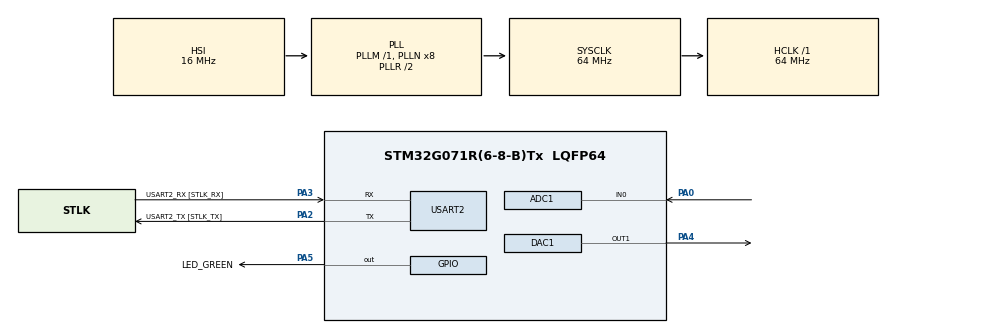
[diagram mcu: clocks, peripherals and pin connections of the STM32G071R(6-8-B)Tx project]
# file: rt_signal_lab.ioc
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ADC1.Channel-1\#ChannelRegularConversion=ADC_CHANNEL_0
ADC1.DMAContinuousRequests=ENABLE
ADC1.ExternalTrigConv=ADC_EXTERNALTRIG_T6_TRGO
ADC1.NbrOfConversionFlag=1
ADC1.Rank-1\#ChannelRegularConversion=1
ADC1.SamplingTime-1\#ChannelRegularConversion=ADC_SAMPLINGTIME_COMMON_1
ADC1.SamplingTimeCommon1=ADC_SAMPLETIME_39CYCLES_5
ADC1.SelectedChannel=ADC_CHANNEL_0
ADC1.TriggerFrequencyMode=ADC_TRIGGER_FREQ_HIGH
ADC1.master=1
DAC1.DAC_Channel-DAC_OUT1=DAC_CHANNEL_1
DAC1.DAC_Trigger-DAC_OUT1=DAC_TRIGGER_T6_TRGO
Dma.ADC1.0.Direction=DMA_PERIPH_TO_MEMORY
Dma.ADC1.0.EventEnable=DISABLE
Dma.ADC1.0.Instance=DMA1_Channel1
Dma.ADC1.0.MemDataAlignment=DMA_MDATAALIGN_HALFWORD
Dma.ADC1.0.MemInc=DMA_MINC_ENABLE
Dma.ADC1.0.Mode=DMA_CIRCULAR
Dma.ADC1.0.PeriphDataAlignment=DMA_PDATAALIGN_HALFWORD
Dma.ADC1.0.PeriphInc=DMA_PINC_DISABLE
Dma.ADC1.0.Polarity=HAL_DMAMUX_REQ_GEN_RISING
Dma.ADC1.0.Priority=DMA_PRIORITY_LOW
Dma.ADC1.0.RequestNumber=1
Dma.ADC1.0.SignalID=NONE
Dma.ADC1.0.SyncEnable=DISABLE
Dma.ADC1.0.SyncPolarity=HAL_DMAMUX_SYNC_NO_EVENT
Dma.ADC1.0.SyncRequestNumber=1
Dma.ADC1.0.SyncSignalID=NONE
Dma.DAC1_CH1.1.Direction=DMA_MEMORY_TO_PERIPH
Dma.DAC1_CH1.1.EventEnable=DISABLE
Dma.DAC1_CH1.1.Instance=DMA1_Channel2
Dma.DAC1_CH1.1.MemDataAlignment=DMA_MDATAALIGN_HALFWORD
Dma.DAC1_CH1.1.MemInc=DMA_MINC_ENABLE
Dma.DAC1_CH1.1.Mode=DMA_CIRCULAR
Dma.DAC1_CH1.1.PeriphDataAlignment=DMA_PDATAALIGN_HALFWORD
Dma.DAC1_CH1.1.PeriphInc=DMA_PINC_DISABLE
Dma.DAC1_CH1.1.Polarity=HAL_DMAMUX_REQ_GEN_RISING
Dma.DAC1_CH1.1.Priority=DMA_PRIORITY_HIGH
Dma.DAC1_CH1.1.RequestNumber=1
Dma.DAC1_CH1.1.SignalID=NONE
Dma.DAC1_CH1.1.SyncEnable=DISABLE
Dma.DAC1_CH1.1.SyncPolarity=HAL_DMAMUX_SYNC_NO_EVENT
Dma.DAC1_CH1.1.SyncRequestNumber=1
Dma.DAC1_CH1.1.SyncSignalID=NONE
Dma.Request0=ADC1
Dma.Request1=DAC1_CH1
Mcu.Family=STM32G0
Mcu.Name=STM32G071R(6-8-B)Tx
Mcu.Package=LQFP64
NVIC.DMA1_Channel1_IRQn=true\:0\:0\:false\:false\:true\:false\:true\:true
NVIC.DMA1_Channel2_3_IRQn=true\:0\:0\:false\:false\:true\:false\:true\:true
PA0.Mode=IN0
PA0.Signal=ADC1_IN0
PA13.GPIO_Label=TMS
PA13.Mode=Serial_Wire
PA13.Signal=SYS_SWDIO
PA14-BOOT0.GPIO_Label=TCK
PA14-BOOT0.Mode=Serial_Wire
PA14-BOOT0.Signal=SYS_SWCLK
PA2.GPIO_Label=USART2_TX [STLK_TX]
PA2.Mode=Asynchronous
PA2.Signal=USART2_TX
PA3.GPIO_Label=USART2_RX [STLK_RX]
PA3.Mode=Asynchronous
PA3.Signal=USART2_RX
PA4.Signal=COMP_DAC11_group
PA5.GPIO_Label=LED_GREEN
PA5.GPIO_Speed=GPIO_SPEED_FREQ_HIGH
PA5.Signal=GPIO_Output
PC13.Signal=SYS_WKUP2
PC14-OSC32_IN\ (PC14).Signal=RCC_OSC32_IN
PC15-OSC32_OUT\ (PC15).Signal=RCC_OSC32_OUT
PF0-OSC_IN\ (PF0).GPIO_Label=MCO
PF0-OSC_IN\ (PF0).Signal=RCC_OSC_IN
ProjectManager.HeapSize=0x200
ProjectManager.StackSize=0x400
ProjectManager.TargetToolchain=STM32CubeIDE
RCC.ADCFreq_Value=64000000
RCC.AHBFreq_Value=64000000
RCC.CortexFreq_Value=64000000
RCC.EXTERNAL_CLOCK_VALUE=12288000
RCC.HCLKFreq_Value=64000000
RCC.HSE_VALUE=8000000
RCC.HSI_VALUE=16000000
RCC.LSE_VALUE=32768
RCC.SYSCLKFreq_VALUE=64000000
RCC.SYSCLKSource=RCC_SYSCLKSOURCE_PLLCLK
RCC.VCOOutputFreq_Value=128000000
SH.COMP_DAC11_group.0=DAC1_OUT1,DAC_OUT1
TIM6.Period=3199
TIM6.Prescaler=0
TIM6.TIM_MasterOutputTrigger=TIM_TRGO_UPDATE
USART2.VirtualMode-Asynchronous=VM_ASYNC
VP_TIM6_VS_ClockSourceINT.Mode=Enable_Timer
board=NUCLEO-G071RB

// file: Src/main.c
/* USER CODE BEGIN Header */
/**
  ******************************************************************************
  * @file           : main.c
  * @brief          : Main program body
  ******************************************************************************
  * @attention
  *
  * Copyright (c) 2026 STMicroelectronics.
  * All rights reserved.
  *
  * This software is licensed under terms that can be found in the LICENSE file
  * in the root directory of this software component.
  * If no LICENSE file comes with this software, it is provided AS-IS.
  *
  ******************************************************************************
  */
/* USER CODE END Header */
#include "main.h"
#include "adc.h"
#include "dac.h"
#include "dma.h"
#include "tim.h"
#include "usart.h"
#include "gpio.h"

/* USER CODE BEGIN Includes */
#include <stdio.h>
#include <math.h>
/* USER CODE END Includes */

/* USER CODE BEGIN PD */
#define ADC_BUFFER_LENGTH          400U
#define ADC_HALF_LENGTH            (ADC_BUFFER_LENGTH / 2U)
#define SAMPLE_RATE_HZ             20000U
#define HALF_BUFFER_DEADLINE_MS    ((ADC_HALF_LENGTH * 1000U) / SAMPLE_RATE_HZ)
#define UART_REPORT_INTERVAL_BLOCKS 20U

#define PROCESSING_NONE           0U
#define PROCESSING_FIRST_HALF     1U
#define PROCESSING_SECOND_HALF    2U

#define DAC_TABLE_LENGTH    200U
#define DAC_MIDPOINT        2048.0f
#define DAC_AMPLITUDE       1800.0f
#define TWO_PI              6.28318530718f

#define MIDPOINT_THRESHOLD_RAW  2048U
/* USER CODE END PD */

/* USER CODE BEGIN PV */
static uint16_t adc_buffer[ADC_BUFFER_LENGTH];

static volatile uint8_t adc_first_half_ready = 0U;
static volatile uint8_t adc_second_half_ready = 0U;
static volatile uint8_t adc_processing_half = PROCESSING_NONE;
static volatile uint32_t buffer_overrun_count = 0U;

static uint32_t processed_half_count = 0U;
static uint32_t last_processing_time_ms = 0U;
static uint32_t max_processing_time_ms = 0U;
static uint32_t deadline_miss_count = 0U;

static char uart_tx_buffer[128];

static uint16_t dac_waveform[DAC_TABLE_LENGTH];

static uint16_t previous_sample_raw = 0U;
static uint8_t previous_sample_valid = 0U;
static uint8_t first_crossing_found = 0U;

static uint32_t total_sample_count = 0U;
static uint32_t previous_crossing_sample = 0U;
static uint32_t measured_period_samples = 0U;
static uint32_t measured_frequency_millihz = 0U;
/* USER CODE END PV */

void SystemClock_Config(void);
/* USER CODE BEGIN PFP */
static void ProcessAdcHalf(uint32_t start_index, uint8_t half_id);
static void GenerateSineWave(void);
static void UpdateFrequencyEstimate(uint16_t sample_raw);
/* USER CODE END PFP */

/* USER CODE BEGIN 0 */
static void ProcessAdcHalf(uint32_t start_index, uint8_t half_id){
  adc_processing_half = half_id;
  uint32_t processing_start_ms = HAL_GetTick();

  uint16_t min_raw = adc_buffer[start_index];
  uint16_t max_raw = adc_buffer[start_index];
  uint32_t sum_raw = 0U;
  uint64_t sum_squares_raw = 0U;

  for (uint32_t offset = 0U; offset < ADC_HALF_LENGTH; offset++){
    uint16_t sample_raw = adc_buffer[start_index + offset];

    UpdateFrequencyEstimate(sample_raw);

    if (sample_raw < min_raw){
      min_raw = sample_raw;
    }

    if (sample_raw > max_raw){
      max_raw = sample_raw;
    }

    sum_raw += sample_raw;
    sum_squares_raw += (uint64_t)sample_raw * sample_raw;
  }

  processed_half_count++;

  uint32_t average_raw = sum_raw / ADC_HALF_LENGTH;
  uint32_t peak_to_peak_raw = (uint32_t)max_raw - min_raw;

  double mean_square = (double)sum_squares_raw / (double)ADC_HALF_LENGTH;

  uint32_t rms_raw = (uint32_t)(sqrt(mean_square) + 0.5);

  uint32_t min_mv = ((uint32_t)min_raw * 3300U) / 4095U;
  uint32_t max_mv = ((uint32_t)max_raw * 3300U) / 4095U;
  uint32_t average_mv = (average_raw * 3300U) / 4095U;
  uint32_t peak_to_peak_mv = (peak_to_peak_raw * 3300U) / 4095U;
  uint32_t rms_mv = (rms_raw * 3300U) / 4095U;

  if ((processed_half_count % UART_REPORT_INTERVAL_BLOCKS) == 0U){
	  int uart_tx_length = snprintf(uart_tx_buffer, sizeof(uart_tx_buffer), "b=%lu min=%lu max=%lu avg=%lu p2p=%lu rms=%lu " "f=%lu.%03luHz period=%lu ov=%lu miss=%lu\r\n",
	      (unsigned long)processed_half_count, (unsigned long)min_mv, (unsigned long)max_mv, (unsigned long)average_mv, (unsigned long)peak_to_peak_mv,
	      (unsigned long)rms_mv, (unsigned long)(measured_frequency_millihz / 1000U), (unsigned long)(measured_frequency_millihz % 1000U),
	      (unsigned long)measured_period_samples, (unsigned long)buffer_overrun_count, (unsigned long)deadline_miss_count);

    if ((uart_tx_length > 0) && (uart_tx_length < (int)sizeof(uart_tx_buffer))){
      if (HAL_UART_Transmit( &huart2, (uint8_t *)uart_tx_buffer, (uint16_t)uart_tx_length, 100U) != HAL_OK){
        Error_Handler();
      }
    }
  }

  last_processing_time_ms = HAL_GetTick() - processing_start_ms;

  if (last_processing_time_ms > max_processing_time_ms){
    max_processing_time_ms = last_processing_time_ms;
  }

  if (last_processing_time_ms >= HALF_BUFFER_DEADLINE_MS){
    deadline_miss_count++;
  }

  adc_processing_half = PROCESSING_NONE;
}

static void GenerateSineWave(void)
{
  for (uint32_t index = 0U; index < DAC_TABLE_LENGTH; index++){
    float phase = (TWO_PI * (float)index) / (float)DAC_TABLE_LENGTH;

    float sample = DAC_MIDPOINT + (DAC_AMPLITUDE * sinf(phase));

    dac_waveform[index] = (uint16_t)(sample + 0.5f);
  }
}

static void UpdateFrequencyEstimate(uint16_t sample_raw){
  if (previous_sample_valid != 0U){
    if ((previous_sample_raw < MIDPOINT_THRESHOLD_RAW) && (sample_raw >= MIDPOINT_THRESHOLD_RAW)){
      if (first_crossing_found != 0U){
        uint32_t period_samples = total_sample_count - previous_crossing_sample;

        if (period_samples != 0U){
          measured_period_samples = period_samples;

          measured_frequency_millihz = ((SAMPLE_RATE_HZ * 1000U) + (period_samples / 2U)) / period_samples;
        }
      }

      previous_crossing_sample = total_sample_count;
      first_crossing_found = 1U;
    }
  }

  previous_sample_raw = sample_raw;
  previous_sample_valid = 1U;
  total_sample_count++;
}
/* USER CODE END 0 */

int main(void)
{

  /* MCU Configuration--------------------------------------------------------*/

  /* Reset of all peripherals, Initializes the Flash interface and the Systick. */
  HAL_Init();

  /* Configure the system clock */
  SystemClock_Config();

  /* Initialize all configured peripherals */
  MX_GPIO_Init();
  MX_DMA_Init();
  MX_USART2_UART_Init();
  MX_DAC1_Init();
  MX_ADC1_Init();
  MX_TIM6_Init();
  /* USER CODE BEGIN 2 */
  if (HAL_ADCEx_Calibration_Start(&hadc1) != HAL_OK){
    Error_Handler();
  }

  static const uint8_t boot_message[] = "rt-signal-lab: boot OK\r\n";

  if (HAL_UART_Transmit(&huart2, boot_message, sizeof(boot_message) - 1U, 100U) != HAL_OK){
    Error_Handler();
  }

  GenerateSineWave();

  if (HAL_DAC_Start_DMA(&hdac1, DAC_CHANNEL_1, (uint32_t *)dac_waveform, DAC_TABLE_LENGTH, DAC_ALIGN_12B_R) != HAL_OK){
    Error_Handler();
  }

  if (HAL_ADC_Start_DMA(&hadc1, (uint32_t *)adc_buffer, ADC_BUFFER_LENGTH) != HAL_OK){
    Error_Handler();
  }

  if (HAL_TIM_Base_Start(&htim6) != HAL_OK){
    Error_Handler();
  }
  /* USER CODE END 2 */

  /* Infinite loop */
  /* USER CODE BEGIN WHILE */
  while (1)
  {
	  if (adc_first_half_ready != 0U){
	    adc_first_half_ready = 0U;
	    ProcessAdcHalf(0U, PROCESSING_FIRST_HALF);
	  }

	  if (adc_second_half_ready != 0U){
	    adc_second_half_ready = 0U;
	    ProcessAdcHalf(ADC_HALF_LENGTH, PROCESSING_SECOND_HALF);
	  }
    /* USER CODE END WHILE */

  }
}

void SystemClock_Config(void)
{
  RCC_OscInitTypeDef RCC_OscInitStruct = {0};
  RCC_ClkInitTypeDef RCC_ClkInitStruct = {0};

  /** Configure the main internal regulator output voltage
  */
  HAL_PWREx_ControlVoltageScaling(PWR_REGULATOR_VOLTAGE_SCALE1);

  /** Initializes the RCC Oscillators according to the specified parameters
  * in the RCC_OscInitTypeDef structure.
  */
  RCC_OscInitStruct.OscillatorType = RCC_OSCILLATORTYPE_HSI;
  RCC_OscInitStruct.HSIState = RCC_HSI_ON;
  RCC_OscInitStruct.HSIDiv = RCC_HSI_DIV1;
  RCC_OscInitStruct.HSICalibrationValue = RCC_HSICALIBRATION_DEFAULT;
  RCC_OscInitStruct.PLL.PLLState = RCC_PLL_ON;
  RCC_OscInitStruct.PLL.PLLSource = RCC_PLLSOURCE_HSI;
  RCC_OscInitStruct.PLL.PLLM = RCC_PLLM_DIV1;
  RCC_OscInitStruct.PLL.PLLN = 8;
  RCC_OscInitStruct.PLL.PLLP = RCC_PLLP_DIV2;
  RCC_OscInitStruct.PLL.PLLQ = RCC_PLLQ_DIV2;
  RCC_OscInitStruct.PLL.PLLR = RCC_PLLR_DIV2;
  if (HAL_RCC_OscConfig(&RCC_OscInitStruct) != HAL_OK)
  {
    Error_Handler();
  }

  /** Initializes the CPU, AHB and APB buses clocks
  */
  RCC_ClkInitStruct.ClockType = RCC_CLOCKTYPE_HCLK|RCC_CLOCKTYPE_SYSCLK
                              |RCC_CLOCKTYPE_PCLK1;
  RCC_ClkInitStruct.SYSCLKSource = RCC_SYSCLKSOURCE_PLLCLK;
  RCC_ClkInitStruct.AHBCLKDivider = RCC_SYSCLK_DIV1;
  RCC_ClkInitStruct.APB1CLKDivider = RCC_HCLK_DIV1;

  if (HAL_RCC_ClockConfig(&RCC_ClkInitStruct, FLASH_LATENCY_2) != HAL_OK)
  {
    Error_Handler();
  }
}

/* USER CODE BEGIN 4 */
void HAL_ADC_ConvHalfCpltCallback(ADC_HandleTypeDef *hadc){
  if (hadc->Instance == ADC1){
    if ((adc_first_half_ready != 0U) || (adc_processing_half == PROCESSING_FIRST_HALF)){
      buffer_overrun_count++;
    }

    adc_first_half_ready = 1U;
  }
}

void HAL_ADC_ConvCpltCallback(ADC_HandleTypeDef *hadc){
  if (hadc->Instance == ADC1){
    if ((adc_second_half_ready != 0U) || (adc_processing_half == PROCESSING_SECOND_HALF)){
      buffer_overrun_count++;
    }

    adc_second_half_ready = 1U;
  }
}
/* USER CODE END 4 */

void Error_Handler(void)
{
  __disable_irq();
  while (1)
  {
  }
}
